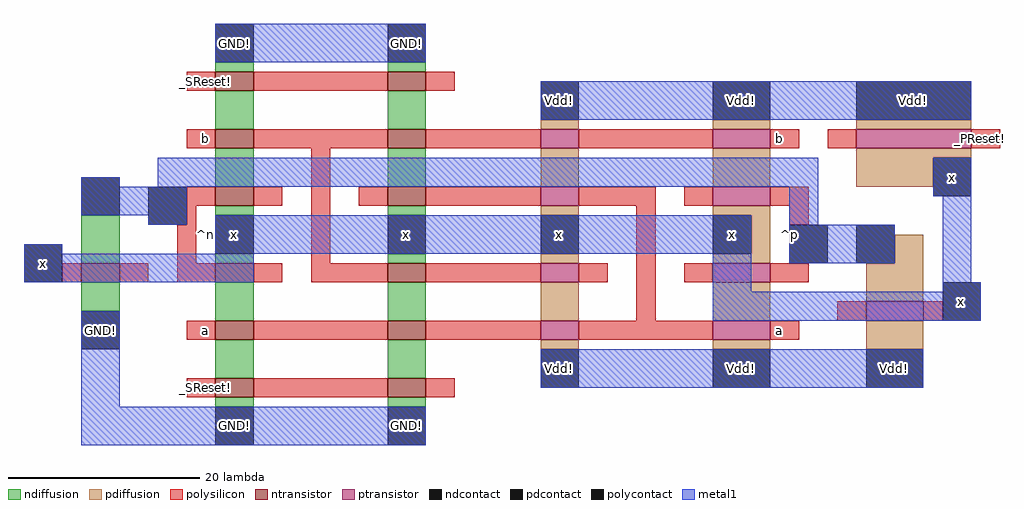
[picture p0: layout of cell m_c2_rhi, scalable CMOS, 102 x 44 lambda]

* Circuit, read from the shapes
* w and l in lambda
.subckt m_c2_rhi GND! Vdd! _PReset! _SReset! a b x
M1 n1 x GND! VSUBS nfet w=4 l=2
M2 n2 _SReset! GND! VSUBS nfet w=4 l=2
M3 n3 a n2 VSUBS nfet w=4 l=2
M4 x n1 n3 VSUBS nfet w=4 l=2
M5 n4 n1 x VSUBS nfet w=4 l=2
M6 n5 b n4 VSUBS nfet w=4 l=2
M7 GND! _SReset! n5 VSUBS nfet w=4 l=2
M8 n6 _SReset! GND! VSUBS nfet w=4 l=2
M9 n7 a n6 VSUBS nfet w=4 l=2
M10 x b n7 VSUBS nfet w=4 l=2
M11 n8 a x VSUBS nfet w=4 l=2
M12 n9 b n8 VSUBS nfet w=4 l=2
M13 GND! _SReset! n9 VSUBS nfet w=4 l=2
M14 n10 a Vdd! NWELL pfet w=4 l=2
M15 x b n10 NWELL pfet w=4 l=2
M16 n11 a x NWELL pfet w=4 l=2
M17 Vdd! b n11 NWELL pfet w=4 l=2
M18 n12 a Vdd! NWELL pfet w=6 l=2
M19 x n1 n12 NWELL pfet w=6 l=2
M20 n13 n1 x NWELL pfet w=6 l=2
M21 Vdd! b n13 NWELL pfet w=6 l=2
M22 Vdd! _PReset! x NWELL pfet w=12 l=2
M23 n1 x Vdd! NWELL pfet w=6 l=2
.ends

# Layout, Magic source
magic
tech scmos
<< ndiffusion >>
rect -19 50 -15 51
rect -1 50 3 51
rect -19 44 -15 48
rect -1 44 3 48
rect -19 38 -15 42
rect -33 30 -29 35
rect -19 35 -15 36
rect -19 30 -15 31
rect -1 38 3 42
rect -1 35 3 36
rect -1 30 3 31
rect -33 25 -29 28
rect -19 24 -15 28
rect -1 24 3 28
rect -19 18 -15 22
rect -1 18 3 22
rect -19 15 -15 16
rect -1 15 3 16
<< pdiffusion >>
rect 15 44 19 45
rect 33 44 39 45
rect 48 44 60 45
rect 15 38 19 42
rect 33 38 39 42
rect 48 41 60 42
rect 48 38 56 41
rect 15 35 19 36
rect 15 30 19 31
rect 15 24 19 28
rect 33 35 39 36
rect 37 31 39 35
rect 33 30 39 31
rect 52 30 55 33
rect 33 24 39 28
rect 49 26 55 30
rect 15 21 19 22
rect 33 21 39 22
rect 49 21 55 24
<< ntransistor >>
rect -19 48 -15 50
rect -1 48 3 50
rect -19 42 -15 44
rect -1 42 3 44
rect -19 36 -15 38
rect -1 36 3 38
rect -33 28 -29 30
rect -19 28 -15 30
rect -1 28 3 30
rect -19 22 -15 24
rect -1 22 3 24
rect -19 16 -15 18
rect -1 16 3 18
<< ptransistor >>
rect 15 42 19 44
rect 33 42 39 44
rect 48 42 60 44
rect 15 36 19 38
rect 33 36 39 38
rect 15 28 19 30
rect 33 28 39 30
rect 49 24 55 26
rect 15 22 19 24
rect 33 22 39 24
<< polysilicon >>
rect -22 48 -19 50
rect -15 48 -1 50
rect 3 48 6 50
rect -22 42 -19 44
rect -15 42 -1 44
rect 3 42 15 44
rect 19 42 33 44
rect 39 42 42 44
rect 45 42 48 44
rect 60 42 63 44
rect -22 36 -19 38
rect -15 36 -12 38
rect -22 34 -21 36
rect -23 30 -21 34
rect -9 30 -7 42
rect -4 36 -1 38
rect 3 36 15 38
rect 19 36 27 38
rect 30 36 33 38
rect 39 36 43 38
rect -35 28 -33 30
rect -29 28 -26 30
rect -23 28 -19 30
rect -15 28 -12 30
rect -9 28 -1 30
rect 3 28 15 30
rect 19 28 22 30
rect 25 24 27 36
rect 41 34 43 36
rect 30 28 33 30
rect 39 28 43 30
rect 46 24 49 26
rect 55 24 57 26
rect -22 22 -19 24
rect -15 22 -1 24
rect 3 22 15 24
rect 19 22 33 24
rect 39 22 42 24
rect -22 16 -19 18
rect -15 16 -1 18
rect 3 16 6 18
<< ndcontact >>
rect -19 51 -15 55
rect -1 51 3 55
rect -33 35 -29 39
rect -19 31 -15 35
rect -1 31 3 35
rect -33 21 -29 25
rect -19 11 -15 15
rect -1 11 3 15
<< pdcontact >>
rect 15 45 19 49
rect 33 45 39 49
rect 48 45 60 49
rect 56 37 60 41
rect 15 31 19 35
rect 33 31 37 35
rect 48 30 52 34
rect 15 17 19 21
rect 33 17 39 21
rect 49 17 55 21
<< polycontact >>
rect -39 28 -35 32
rect -26 34 -22 38
rect 41 30 45 34
rect 57 24 61 28
<< metal1 >>
rect -19 51 3 55
rect 15 45 60 49
rect -33 38 -29 39
rect -25 38 44 41
rect -33 35 -22 38
rect -26 34 -22 35
rect -39 31 -35 32
rect -19 31 37 35
rect -39 28 -15 31
rect 33 27 37 31
rect 41 34 44 38
rect 56 37 60 41
rect 41 30 52 34
rect 57 28 60 37
rect 57 27 61 28
rect -33 15 -29 25
rect 33 24 61 27
rect 15 17 55 21
rect -33 11 3 15
<< labels >>
rlabel polysilicon 40 43 40 43 1 b
rlabel polysilicon 40 23 40 23 1 a
rlabel polysilicon -20 43 -20 43 3 b
rlabel polysilicon -20 23 -20 23 1 a
rlabel polysilicon -20 49 -20 49 1 _SReset!
rlabel polysilicon -20 17 -20 17 1 _SReset!
rlabel polysilicon 61 43 61 43 1 _PReset!
rlabel space 18 16 64 50 3 ^p
rlabel space -40 10 0 56 7 ^n
rlabel pdcontact 35 33 35 33 1 x
rlabel pdcontact 36 19 36 19 1 Vdd!
rlabel pdcontact 36 47 36 47 1 Vdd!
rlabel ndcontact 1 33 1 33 1 x
rlabel ndcontact 1 13 1 13 1 GND!
rlabel pdcontact 17 33 17 33 1 x
rlabel pdcontact 17 19 17 19 1 Vdd!
rlabel ndcontact 1 53 1 53 5 GND!
rlabel pdcontact 17 47 17 47 1 Vdd!
rlabel ndcontact -17 53 -17 53 5 GND!
rlabel ndcontact -17 13 -17 13 1 GND!
rlabel pdcontact 54 47 54 47 5 Vdd!
rlabel pdcontact 58 39 58 39 7 x
rlabel pdcontact 52 19 52 19 3 Vdd!
rlabel polycontact 59 26 59 26 7 x
rlabel ndcontact -17 33 -17 33 1 x
rlabel ndcontact -31 23 -31 23 1 GND!
rlabel polycontact -37 30 -37 30 3 x
<< end >>
